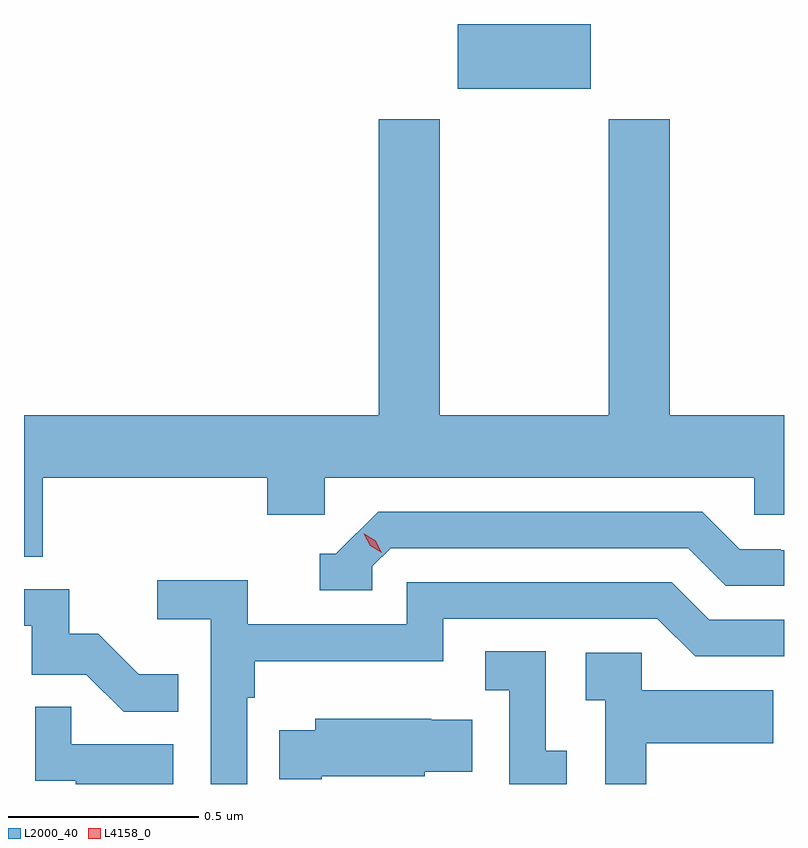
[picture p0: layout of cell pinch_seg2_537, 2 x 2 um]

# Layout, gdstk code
import gdstk
lib = gdstk.Library(unit=1e-6, precision=1e-09)
def R(c, l, rs):  # rectangles x0, y0, x1, y1
    for r in rs: c.add(gdstk.rectangle(r[:2], r[2:], *l))
def P(c, l, *ps):  # polygons
    for p in ps: c.add(gdstk.Polygon(p, *l))
L2000_40 = (2000, 40)
L4158_0 = (4158, 0)

pinch_seg2_537 = lib.new_cell('pinch_seg2_537')
R(pinch_seg2_537, L2000_40, [(977.882,603.371,978.232,603.542)])
P(pinch_seg2_537, L2000_40, [(976.79,602.348),(977.381,602.348),(977.381,602.25),(977.532,602.25),(977.532,602.348),(978.663,602.348),(978.663,602.25),(978.741,602.25),(978.741,602.512),(978.44,602.512),(978.44,603.292),(978.28,603.292),(978.28,602.512),(977.835,602.512),(977.835,603.292),(977.675,603.292),(977.675,602.512),(976.741,602.512),(976.741,602.14),(976.79,602.14)],
  [(977.658,602.115),(977.706,602.163),(978.489,602.163),(978.588,602.064),(978.741,602.064),(978.741,602.157),(978.732,602.157),(978.732,602.16),(978.625,602.16),(978.526,602.259),(977.673,602.259),(977.562,602.148),(977.519,602.148),(977.519,602.052),(977.658,602.052)],
  [(977.328,601.769),(977.348,601.769),(977.348,601.865),(977.844,601.865),(977.844,601.977),(978.408,601.977),(978.507,601.878),(978.741,601.878),(978.741,601.974),(978.544,601.974),(978.445,602.073),(977.748,602.073),(977.748,601.962),(977.33,601.962),(977.33,602.078),(977.091,602.078),(977.091,601.976),(977.232,601.976),(977.232,601.542),(977.328,601.542)],
  [(977.147,601.831),(977.043,601.831),(976.936,601.938),(976.86,601.938),(976.86,602.055),(976.741,602.055),(976.741,601.959),(976.761,601.959),(976.761,601.83),(976.905,601.83),(977.003,601.732),(977.147,601.732)],
  [(978.169,601.629),(978.114,601.629),(978.114,601.892),(977.955,601.892),(977.955,601.789),(978.018,601.789),(978.018,601.542),(978.169,601.542)],
  [(978.379,601.649),(978.713,601.649),(978.713,601.789),(978.366,601.789),(978.366,601.887),(978.219,601.887),(978.219,601.763),(978.27,601.763),(978.27,601.542),(978.379,601.542)],
  [(977.134,601.647),(976.865,601.647),(976.865,601.745),(976.77,601.745),(976.77,601.551),(976.877,601.551),(976.877,601.542),(977.134,601.542)],
  [(977.524,601.562),(977.796,601.562),(977.796,601.574),(977.921,601.574),(977.921,601.711),(977.813,601.711),(977.813,601.714),(977.507,601.714),(977.507,601.684),(977.413,601.684),(977.413,601.555),(977.524,601.555)])
P(pinch_seg2_537, L4158_0, [(977.683,602.15),(977.652,602.169),(977.635,602.201),(977.635,602.201),(977.636,602.201),(977.666,602.182),(977.683,602.15),(977.683,602.15)])

lib.write_gds('pinch_seg2_537.gds')
